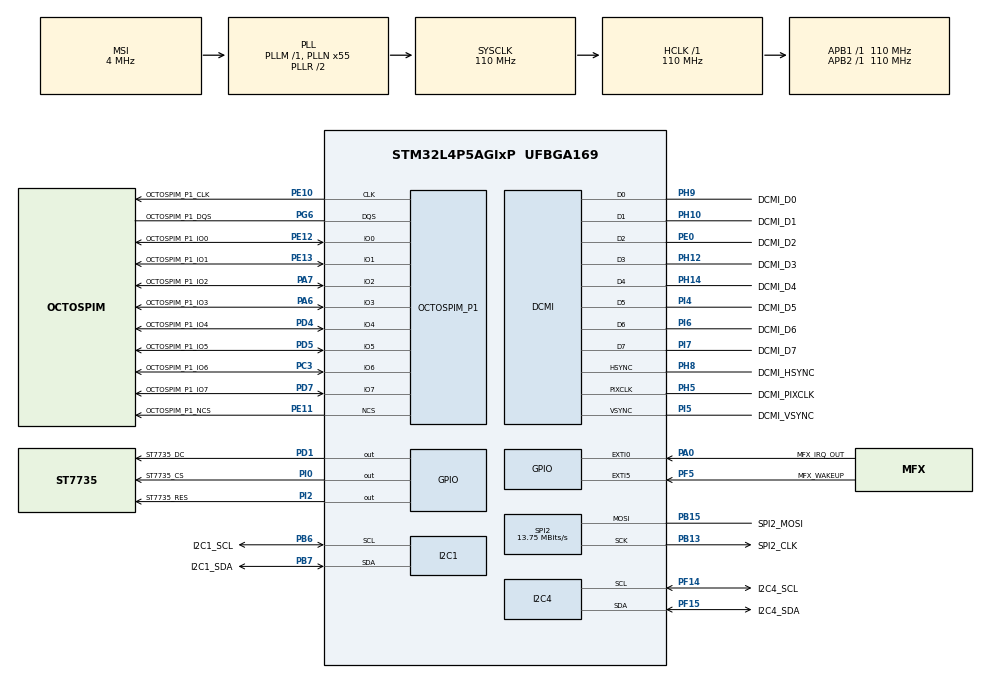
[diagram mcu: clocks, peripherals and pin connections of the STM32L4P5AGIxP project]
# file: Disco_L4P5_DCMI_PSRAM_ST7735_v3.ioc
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DCMI.HSPolarity=DCMI_HSPOLARITY_HIGH
DCMI.PCKPolarity=DCMI_PCKPOLARITY_RISING
DCMI.VSPolarity=DCMI_VSPOLARITY_HIGH
Dma.DCMI.1.Direction=DMA_PERIPH_TO_MEMORY
Dma.DCMI.1.EventEnable=DISABLE
Dma.DCMI.1.Instance=DMA2_Channel6
Dma.DCMI.1.MemDataAlignment=DMA_MDATAALIGN_WORD
Dma.DCMI.1.MemInc=DMA_MINC_ENABLE
Dma.DCMI.1.Mode=DMA_NORMAL
Dma.DCMI.1.PeriphDataAlignment=DMA_PDATAALIGN_WORD
Dma.DCMI.1.PeriphInc=DMA_PINC_DISABLE
Dma.DCMI.1.Polarity=HAL_DMAMUX_REQ_GEN_RISING
Dma.DCMI.1.Priority=DMA_PRIORITY_HIGH
Dma.DCMI.1.RequestNumber=1
Dma.DCMI.1.SignalID=NONE
Dma.DCMI.1.SyncEnable=DISABLE
Dma.DCMI.1.SyncPolarity=HAL_DMAMUX_SYNC_NO_EVENT
Dma.DCMI.1.SyncRequestNumber=1
Dma.DCMI.1.SyncSignalID=NONE
Dma.MEMTOMEM.0.Direction=DMA_MEMORY_TO_MEMORY
Dma.MEMTOMEM.0.EventEnable=DISABLE
Dma.MEMTOMEM.0.Instance=DMA1_Channel1
Dma.MEMTOMEM.0.MemDataAlignment=DMA_MDATAALIGN_BYTE
Dma.MEMTOMEM.0.MemInc=DMA_MINC_ENABLE
Dma.MEMTOMEM.0.Mode=DMA_NORMAL
Dma.MEMTOMEM.0.PeriphDataAlignment=DMA_PDATAALIGN_BYTE
Dma.MEMTOMEM.0.PeriphInc=DMA_PINC_ENABLE
Dma.MEMTOMEM.0.Polarity=HAL_DMAMUX_REQ_GEN_RISING
Dma.MEMTOMEM.0.Priority=DMA_PRIORITY_HIGH
Dma.MEMTOMEM.0.RequestNumber=1
Dma.MEMTOMEM.0.SignalID=NONE
Dma.MEMTOMEM.0.SyncEnable=DISABLE
Dma.MEMTOMEM.0.SyncPolarity=HAL_DMAMUX_SYNC_NO_EVENT
Dma.MEMTOMEM.0.SyncRequestNumber=1
Dma.MEMTOMEM.0.SyncSignalID=NONE
Dma.Request0=MEMTOMEM
Dma.Request1=DCMI
I2C1.Timing=0x40505681
I2C4.Timing=0x40505681
Mcu.Family=STM32L4
Mcu.Name=STM32L4P5AGIxP
Mcu.Package=UFBGA169
NVIC.DCMI_PSSI_IRQn=true\:0\:0\:false\:false\:true\:true\:true\:true
NVIC.DMA1_Channel1_IRQn=true\:0\:0\:false\:false\:true\:true\:true\:true
NVIC.DMA2_Channel6_IRQn=true\:0\:0\:false\:false\:true\:false\:true\:true
NVIC.OCTOSPI1_IRQn=true\:0\:0\:false\:false\:true\:true\:true\:true
NVIC.PriorityGroup=NVIC_PRIORITYGROUP_4
OCTOSPI1.ChipSelectBoundary=4
OCTOSPI1.ClockPrescaler=0x03
OCTOSPI1.DelayBlockBypass=HAL_OSPI_DELAY_BLOCK_USED
OCTOSPI1.DeviceSize=23
OCTOSPI1.FifoThreshold=2
OCTOSPI1.MemoryType=HAL_OSPI_MEMTYPE_APMEMORY
PA0.GPIO_Label=MFX_IRQ_OUT
PA0.Signal=GPXTI0
PA13\ (JTMS/SWDIO).Mode=Serial_Wire
PA13\ (JTMS/SWDIO).Signal=SYS_JTMS-SWDIO
PA14\ (JTCK/SWCLK).Mode=Serial_Wire
PA14\ (JTCK/SWCLK).Signal=SYS_JTCK-SWCLK
PA6.GPIO_Label=OCTOSPIM_P1_IO3
PA6.Mode=OCTOSPI1_IOL_Port1L
PA6.Signal=OCTOSPIM_P1_IO3
PA7.GPIO_Label=OCTOSPIM_P1_IO2
PA7.Mode=OCTOSPI1_IOL_Port1L
PA7.Signal=OCTOSPIM_P1_IO2
PB13.GPIO_Label=SPI2_CLK
PB13.Mode=Simplex_Bidirectional_Master
PB13.Signal=SPI2_SCK
PB15.GPIO_Label=SPI2_MOSI
PB15.Mode=Simplex_Bidirectional_Master
PB15.Signal=SPI2_MOSI
PB6.GPIO_Label=I2C1_SCL
PB6.Mode=I2C
PB6.Signal=I2C1_SCL
PB7.GPIO_Label=I2C1_SDA
PB7.Mode=I2C
PB7.Signal=I2C1_SDA
PC3.GPIO_Label=OCTOSPIM_P1_IO6
PC3.Mode=OCTOSPI1_IOH_Port1H
PC3.Signal=OCTOSPIM_P1_IO6
PD1.GPIO_Label=ST7735_DC
PD1.Signal=GPIO_Output
PD4.GPIO_Label=OCTOSPIM_P1_IO4
PD4.Mode=OCTOSPI1_IOH_Port1H
PD4.Signal=OCTOSPIM_P1_IO4
PD5.GPIO_Label=OCTOSPIM_P1_IO5
PD5.Mode=OCTOSPI1_IOH_Port1H
PD5.Signal=OCTOSPIM_P1_IO5
PD7.GPIO_Label=OCTOSPIM_P1_IO7
PD7.Mode=OCTOSPI1_IOH_Port1H
PD7.Signal=OCTOSPIM_P1_IO7
PE0.GPIO_Label=DCMI_D2
PE0.Mode=Slave_8_bits_External_Synchro
PE0.Signal=DCMI_D2
PE10.GPIO_Label=OCTOSPIM_P1_CLK
PE10.Mode=O1_P1_CLK
PE10.Signal=OCTOSPIM_P1_CLK
PE11.GPIO_Label=OCTOSPIM_P1_NCS
PE11.Mode=OCTOSPI1_Port1_NCS
PE11.Signal=OCTOSPIM_P1_NCS
PE12.GPIO_Label=OCTOSPIM_P1_IO0
PE12.Mode=OCTOSPI1_IOL_Port1L
PE12.Signal=OCTOSPIM_P1_IO0
PE13.GPIO_Label=OCTOSPIM_P1_IO1
PE13.Mode=OCTOSPI1_IOL_Port1L
PE13.Signal=OCTOSPIM_P1_IO1
PE9.GPIO_Label=OCTOSPIM_P1_NCLK
PE9.Signal=OCTOSPIM_P1_NCLK
PF14.GPIO_Label=I2C4_SCL
PF14.Mode=I2C
PF14.Signal=I2C4_SCL
PF15.GPIO_Label=I2C4_SDA
PF15.Mode=I2C
PF15.Signal=I2C4_SDA
PF5.GPIO_Label=MFX_WAKEUP
PF5.Signal=GPXTI5
PG6.GPIO_Label=OCTOSPIM_P1_DQS
PG6.Mode=OCTOSPI1_Port1_DQS
PG6.Signal=OCTOSPIM_P1_DQS
PH10.GPIO_Label=DCMI_D1
PH10.Mode=Slave_8_bits_External_Synchro
PH10.Signal=DCMI_D1
PH12.GPIO_Label=DCMI_D3
PH12.Mode=Slave_8_bits_External_Synchro
PH12.Signal=DCMI_D3
PH14.GPIO_Label=DCMI_D4
PH14.Mode=Slave_8_bits_External_Synchro
PH14.Signal=DCMI_D4
PH5.GPIO_Label=DCMI_PIXCLK
PH5.Mode=Slave_8_bits_External_Synchro
PH5.Signal=DCMI_PIXCLK
PH8.GPIO_Label=DCMI_HSYNC
PH8.Mode=Slave_8_bits_External_Synchro
PH8.Signal=DCMI_HSYNC
PH9.GPIO_Label=DCMI_D0
PH9.Mode=Slave_8_bits_External_Synchro
PH9.Signal=DCMI_D0
PI0.GPIO_Label=ST7735_CS
PI0.Signal=GPIO_Output
PI2.GPIO_Label=ST7735_RES
PI2.Signal=GPIO_Output
PI3.GPIO_Label=DCMI_D10
PI3.Signal=DCMI_D10
PI4.GPIO_Label=DCMI_D5
PI4.Mode=Slave_8_bits_External_Synchro
PI4.Signal=DCMI_D5
PI5.GPIO_Label=DCMI_VSYNC
PI5.Mode=Slave_8_bits_External_Synchro
PI5.Signal=DCMI_VSYNC
PI6.GPIO_Label=DCMI_D6
PI6.Mode=Slave_8_bits_External_Synchro
PI6.Signal=DCMI_D6
PI7.GPIO_Label=DCMI_D7
PI7.Mode=Slave_8_bits_External_Synchro
PI7.Signal=DCMI_D7
ProjectManager.HeapSize=0x200
ProjectManager.StackSize=0x400
ProjectManager.TargetToolchain=STM32CubeIDE
RCC.ADCFreq_Value=110000000
RCC.AHBFreq_Value=110000000
RCC.APB1Freq_Value=110000000
RCC.APB1TimFreq_Value=110000000
RCC.APB2Freq_Value=110000000
RCC.APB2TimFreq_Value=110000000
RCC.CK48CLockSelection=RCC_USBCLKSOURCE_HSI48
RCC.CortexFreq_Value=110000000
RCC.HCLKFreq_Value=110000000
RCC.HSE_VALUE=24000000
RCC.HSI48_VALUE=48000000
RCC.HSI_VALUE=16000000
RCC.LSE_VALUE=32768
RCC.MSI_VALUE=4000000
RCC.PLLN=55
RCC.PLLP=RCC_PLLP_DIV7
RCC.PLLSAI1N=55
RCC.PLLSAI1P=RCC_PLLP_DIV7
RCC.PLLSAI2N=55
RCC.SYSCLKFreq_VALUE=110000000
RCC.SYSCLKSource=RCC_SYSCLKSOURCE_PLLCLK
RCC.USBFreq_Value=48000000
RCC.VCOOutputFreq_Value=220000000
SPI2.BaudRatePrescaler=SPI_BAUDRATEPRESCALER_8
SPI2.CalculateBaudRate=13.75 MBits/s
SPI2.DataSize=SPI_DATASIZE_8BIT
SPI2.Direction=SPI_DIRECTION_1LINE
SPI2.Mode=SPI_MODE_MASTER
SPI2.VirtualType=VM_MASTER
VP_OCTOSPI1_VS_octo.Mode=octo_mode
board=STM32L4P5G-DK

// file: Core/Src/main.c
/* USER CODE BEGIN Header */
/*
 *
Table 8. CN1 STMod+ connector pinout
Pin number Description Pin number Description
1   SPI1_NSS/USART3_CTS (PG5/PD11)      11  INT (PD10)
2   SPI1_MOSI/ USART3_TX (PG4/PD8)      12  RESET (PF11)
3   SPI1_MISO/ USART3_RX (PG3/PD9)      13  ADC (PA5)
4   SPI1_SCK/ USART3_RTS (PG2/PD12)     14  PWM (PG11)
5   GND                                 15 5V
6   5V                                  16 GND
7   I2C4_SCL (PF14)                     17 DFSDM1-CKOUT (PF10)
8   SPI1_MOSIs (PE15)                   18 DFSDM1- DATIN1 (PB12)
9   SPI1_MISOs (PE14)                   19 GPIO3 (PD0)
10  I2C4_SDA (PF15)                     20 GPIO4 (PD1)

It is SPI but with a single bidirectional pin e.g.
LED backlight, sometimes called BL. (it might be LED anode or cathode)
SDA bidirectional data pin. Connect to MOSI
SCK clock. sometimes called SCLK, SCL, ...
A0 data/command GPIO OUTPUT pin. sometimes called DC, RS, ...
RESET reset pin. you must connect. (or pullup)
CS chip select

ST7735 LCD SPI interface max baudrate is 15MHz for write and 6.66MHz for read
Since the provided driver doesn't use read capability from LCD, only constraint
on write baudrate is considered.

 */
/**
 ******************************************************************************
 * @file           : main.c
 * @brief          : Main program body
 ******************************************************************************
 * @attention
 *
 * Copyright (c) 2023 STMicroelectronics.
 * All rights reserved.
 *
 * This software is licensed under terms that can be found in the LICENSE file
 * in the root directory of this software component.
 * If no LICENSE file comes with this software, it is provided AS-IS.
 *
 ******************************************************************************
 */
/* USER CODE END Header */
#include "main.h"

/* USER CODE BEGIN Includes */
#include <stdio.h>
#include <string.h>
#include "st7735.h"
#include "fonts.h"
#include "testimg.h"
/* USER CODE END Includes */

/* USER CODE BEGIN PD */
#define USE_SRAM
//#define  CAMERA_WIDTH    ((uint16_t)320)
//#define  CAMERA_HEIGHT   ((uint16_t)240)

#define  CAMERA_WIDTH    ((uint16_t)160)
#define  CAMERA_HEIGHT   ((uint16_t)120)
/* USER CODE END PD */

DCMI_HandleTypeDef hdcmi;
DMA_HandleTypeDef hdma_dcmi;

I2C_HandleTypeDef hi2c1;
I2C_HandleTypeDef hi2c4;

OSPI_HandleTypeDef hospi1;

SPI_HandleTypeDef hspi2;

DMA_HandleTypeDef hdma_memtomem_dma1_channel1;
/* USER CODE BEGIN PV */
extern DCMI_HandleTypeDef hDcmiHandler;
static volatile uint32_t start_the_camera_capture = 0;
uint16_t pBuffer[CAMERA_WIDTH * CAMERA_HEIGHT];

/* Buffer used for transmission */
uint8_t aTxBuffer[] = " ****Memory-mapped OSPI communication****  ****Memory-mapped OSPI communication****  ****Memory-mapped OSPI communication****  ****Memory-mapped OSPI communication****  ****Memory-mapped OSPI communication****  ****Memory-mapped OSPI communication**** ";

static __IO uint32_t transferErrorDetected;    /* Set to 1 if an error transfer is detected */
static __IO uint32_t transferCompleteDetected; /* Set to 1 if transfer is correctly completed */

HAL_StatusTypeDef hal_status = HAL_OK;

static SPI_HandleTypeDef hdisco_Spi;
/* USER CODE END PV */

void SystemClock_Config(void);
static void MX_GPIO_Init(void);
static void MX_DMA_Init(void);
static void MX_I2C1_Init(void);
static void MX_I2C4_Init(void);
static void MX_SPI2_Init(void);
static void MX_DCMI_Init(void);
static void MX_OCTOSPI1_Init(void);
/* USER CODE BEGIN PFP */

static void TransferComplete(DMA_HandleTypeDef *DmaHandle);
static void TransferError(DMA_HandleTypeDef *DmaHandle);
static void OnError_Handler(uint32_t condition);

static void SPIx_Init(void);
static void SPIx_WriteReadData(const uint8_t *DataIn, uint8_t *DataOut, uint16_t DataLength);
static void SPIx_Write(uint8_t Value);
void LCD_Delay(uint32_t Delay);

static void BSP_OSPIM_Init(void);
static void BSP_OSPIM_RCC_delay(void);
/* USER CODE END PFP */

/* USER CODE BEGIN 0 */
// UART2 is connected to st-link
//int _write(int file, char *ptr, int len)
//{
//	HAL_UART_Transmit(&huart2,(uint8_t *)ptr,len,10);
//	return len;
//}
/* USER CODE END 0 */

int main(void)
{

	/* MCU Configuration--------------------------------------------------------*/

	/* Reset of all peripherals, Initializes the Flash interface and the Systick. */
	HAL_Init();

	/* Configure the system clock */
	SystemClock_Config();

	/* Initialize all configured peripherals */
	MX_GPIO_Init();
	MX_DMA_Init();
	MX_I2C1_Init();
	MX_I2C4_Init();
	MX_SPI2_Init();
	MX_DCMI_Init();
	MX_OCTOSPI1_Init();
	/* USER CODE BEGIN 2 */
	MX_GPIO_Init();
	MX_SPI2_Init();
	ST7735_Init();

	ST7735_FillScreen(ST7735_BLACK);

	BSP_OSPIM_Init();
	BSP_OSPIM_RCC_delay();

	//  BSP_LCD_Init();
	//  uint32_t XSize= BSP_LCD_GetXSize();
	//  uint32_t YSize= BSP_LCD_GetYSize();
	//
	//  BSP_LCD_DrawPixel(0, 0, LCD_RGB565_COLOR_RED);
	//
	//  BSP_LCD_SetBackColor(LCD_RGB565_COLOR_LIGHTBLUE);
	//  BSP_LCD_SetTextColor(LCD_RGB565_COLOR_RED);
	//  BSP_LCD_FillRect(0, 0, 100, 100);

	/*##-2- Initialize the LCD #################################################*/
	/*##-1- LEDs initialization  #################################################*/
	BSP_LED_Init(LED2);
	BSP_LED_Init(LED1);

	/* Initialize the IO functionalities */
	hal_status = BSP_IO_Init();
	OnError_Handler(hal_status != HAL_OK);

	hal_status = BSP_IO_ConfigPin(IO_PIN_3, IO_MODE_OUTPUT);
	OnError_Handler(hal_status != HAL_OK);

	BSP_IO_WritePin(IO_PIN_3, BSP_IO_PIN_SET);
	HAL_Delay(100);

	hal_status = BSP_IO_ConfigPin(IO_PIN_7, IO_MODE_INPUT);
	OnError_Handler(hal_status != HAL_OK);

	uint32_t val= BSP_IO_ReadPin(IO_PIN_7);
	printf("plugged %lu\n", val);

#define CAM
#ifdef CAM
	/*##-3- Camera Initialization ############################*/
	/* Initialize the Camera in QQVGA mode */
	hal_status = BSP_CAMERA_Init(CAMERA_R160x120);
	OnError_Handler(hal_status != HAL_OK);

	/* Wait 1s to let auto-loops in the camera module converge and lead to correct exposure */
	HAL_Delay(1000);

	/*##-4- Camera Continuous capture start in QVGA resolution ############################*/
	/* Disable unwanted HSYNC (IT_LINE)/VSYNC interrupts */
	__HAL_DCMI_DISABLE_IT(&hDcmiHandler, DCMI_IT_LINE | DCMI_IT_VSYNC);

#define OSPIM
#ifdef OSPIM
	hal_status = HAL_DCMI_Start_DMA(&hDcmiHandler, DCMI_MODE_SNAPSHOT,  (uint32_t)(OCTOSPI1_BASE) , CAMERA_WIDTH * CAMERA_HEIGHT/2 );
#else
	hal_status = HAL_DCMI_Start_DMA(&hDcmiHandler, DCMI_MODE_SNAPSHOT,  (uint32_t)(pBuffer) , CAMERA_WIDTH * CAMERA_HEIGHT/2 );
	/* ------------------------------------------------------------------------------------------- uint32_t size ---- */
#endif

	OnError_Handler(hal_status != HAL_OK);

	/*##-4- Line capture ############################*/
	printf("capture %lu\n", start_the_camera_capture);
	while(start_the_camera_capture == 0) {;}
	printf("capture %lu\n", start_the_camera_capture);

#ifdef OSPIM
	/* Read back data from the SRAM memory */
	for(uint32_t pos = 0; pos < CAMERA_WIDTH * CAMERA_HEIGHT; pos++)
	   {
		uint16_t val = * (__IO uint16_t *)(OCTOSPI1_BASE+2*pos);
		pBuffer[pos] = val;
	   }
#endif

#define noDRAWIMAGE
	for (uint16_t i=0; i<CAMERA_WIDTH; i++){
		for (uint16_t j=0; j<CAMERA_HEIGHT; j++){
			uint16_t color565 = pBuffer[j*CAMERA_WIDTH+i];
#ifdef DRAWIMAGE
			color565 = ((color565 & 0xFF00) >> 8) | ((color565 & 0xFF) << 8);
			pBuffer[j*CAMERA_WIDTH+i]=color565;
			ST7735_DrawImage(0, 0, CAMERA_WIDTH, CAMERA_HEIGHT, pBuffer);
#else
			ST7735_DrawPixel(i, j, color565);
#endif
		}
	}

#endif

	/* Set to 1 if an transfer error is detected */
	transferErrorDetected = 0;
	transferCompleteDetected = 0;

	/*##-5- Select Callbacks functions called after Transfer complete and Transfer error */
	HAL_DMA_RegisterCallback(&hdma_memtomem_dma1_channel1, HAL_DMA_XFER_CPLT_CB_ID, TransferComplete);
	HAL_DMA_RegisterCallback(&hdma_memtomem_dma1_channel1, HAL_DMA_XFER_ERROR_CB_ID, TransferError);

	if (HAL_DMA_Start_IT(&hdma_memtomem_dma1_channel1, (uint32_t)&aTxBuffer, (uint32_t)(OCTOSPI1_BASE), BUFFERSIZE) != HAL_OK)
	{
		/* Transfer Error */
		Error_Handler();
	}

	/* USER CODE END 2 */

	/* Infinite loop */
	/* USER CODE BEGIN WHILE */
	while (1){
		if (transferErrorDetected == 1){
			/* Toggle LED2 with a period of 200 ms */
			BSP_LED_Toggle(LED2);
			HAL_Delay(200);
		}
		if (transferCompleteDetected == 1){
			/* Turn LED2 on*/
			BSP_LED_On(LED2);
			transferCompleteDetected = 0;

			/* Read back data from the SRAM memory */
			for(__IO uint32_t  uwIndex = 0; uwIndex < BUFFERSIZE; uwIndex++)
			{
				__IO uint16_t uval = aTxBuffer[uwIndex];
				if (uval != aTxBuffer[uwIndex]) Error_Handler();

				printf("%lu / %u %u\n", uwIndex, BUFFERSIZE, uval);
				//printf("%c", uval);
			}
			printf("\n");
		}

		/* USER CODE END WHILE */

	}
}

void SystemClock_Config(void)
{
	RCC_OscInitTypeDef RCC_OscInitStruct = {0};
	RCC_ClkInitTypeDef RCC_ClkInitStruct = {0};

	/** Configure the main internal regulator output voltage
	 */
	if (HAL_PWREx_ControlVoltageScaling(PWR_REGULATOR_VOLTAGE_SCALE1_BOOST) != HAL_OK)
	{
		Error_Handler();
	}

	/** Initializes the RCC Oscillators according to the specified parameters
	 * in the RCC_OscInitTypeDef structure.
	 */
	RCC_OscInitStruct.OscillatorType = RCC_OSCILLATORTYPE_MSI;
	RCC_OscInitStruct.MSIState = RCC_MSI_ON;
	RCC_OscInitStruct.MSICalibrationValue = 0;
	RCC_OscInitStruct.MSIClockRange = RCC_MSIRANGE_6;
	RCC_OscInitStruct.PLL.PLLState = RCC_PLL_ON;
	RCC_OscInitStruct.PLL.PLLSource = RCC_PLLSOURCE_MSI;
	RCC_OscInitStruct.PLL.PLLM = 1;
	RCC_OscInitStruct.PLL.PLLN = 55;
	RCC_OscInitStruct.PLL.PLLP = RCC_PLLP_DIV7;
	RCC_OscInitStruct.PLL.PLLQ = RCC_PLLQ_DIV2;
	RCC_OscInitStruct.PLL.PLLR = RCC_PLLR_DIV2;
	if (HAL_RCC_OscConfig(&RCC_OscInitStruct) != HAL_OK)
	{
		Error_Handler();
	}

	/** Initializes the CPU, AHB and APB buses clocks
	 */
	RCC_ClkInitStruct.ClockType = RCC_CLOCKTYPE_HCLK|RCC_CLOCKTYPE_SYSCLK
			|RCC_CLOCKTYPE_PCLK1|RCC_CLOCKTYPE_PCLK2;
	RCC_ClkInitStruct.SYSCLKSource = RCC_SYSCLKSOURCE_PLLCLK;
	RCC_ClkInitStruct.AHBCLKDivider = RCC_SYSCLK_DIV1;
	RCC_ClkInitStruct.APB1CLKDivider = RCC_HCLK_DIV1;
	RCC_ClkInitStruct.APB2CLKDivider = RCC_HCLK_DIV1;

	if (HAL_RCC_ClockConfig(&RCC_ClkInitStruct, FLASH_LATENCY_5) != HAL_OK)
	{
		Error_Handler();
	}
}

static void MX_DCMI_Init(void)
{

	hdcmi.Instance = DCMI;
	hdcmi.Init.SynchroMode = DCMI_SYNCHRO_HARDWARE;
	hdcmi.Init.PCKPolarity = DCMI_PCKPOLARITY_RISING;
	hdcmi.Init.VSPolarity = DCMI_VSPOLARITY_HIGH;
	hdcmi.Init.HSPolarity = DCMI_HSPOLARITY_HIGH;
	hdcmi.Init.CaptureRate = DCMI_CR_ALL_FRAME;
	hdcmi.Init.ExtendedDataMode = DCMI_EXTEND_DATA_8B;
	hdcmi.Init.JPEGMode = DCMI_JPEG_DISABLE;
	hdcmi.Init.ByteSelectMode = DCMI_BSM_ALL;
	hdcmi.Init.ByteSelectStart = DCMI_OEBS_ODD;
	hdcmi.Init.LineSelectMode = DCMI_LSM_ALL;
	hdcmi.Init.LineSelectStart = DCMI_OELS_ODD;
	if (HAL_DCMI_Init(&hdcmi) != HAL_OK)
	{
		Error_Handler();
	}

}

static void MX_I2C1_Init(void)
{

	hi2c1.Instance = I2C1;
	hi2c1.Init.Timing = 0x40505681;
	hi2c1.Init.OwnAddress1 = 0;
	hi2c1.Init.AddressingMode = I2C_ADDRESSINGMODE_7BIT;
	hi2c1.Init.DualAddressMode = I2C_DUALADDRESS_DISABLE;
	hi2c1.Init.OwnAddress2 = 0;
	hi2c1.Init.OwnAddress2Masks = I2C_OA2_NOMASK;
	hi2c1.Init.GeneralCallMode = I2C_GENERALCALL_DISABLE;
	hi2c1.Init.NoStretchMode = I2C_NOSTRETCH_DISABLE;
	if (HAL_I2C_Init(&hi2c1) != HAL_OK)
	{
		Error_Handler();
	}

	/** Configure Analogue filter
	 */
	if (HAL_I2CEx_ConfigAnalogFilter(&hi2c1, I2C_ANALOGFILTER_ENABLE) != HAL_OK)
	{
		Error_Handler();
	}

	/** Configure Digital filter
	 */
	if (HAL_I2CEx_ConfigDigitalFilter(&hi2c1, 0) != HAL_OK)
	{
		Error_Handler();
	}

}

static void MX_I2C4_Init(void)
{

	hi2c4.Instance = I2C4;
	hi2c4.Init.Timing = 0x40505681;
	hi2c4.Init.OwnAddress1 = 0;
	hi2c4.Init.AddressingMode = I2C_ADDRESSINGMODE_7BIT;
	hi2c4.Init.DualAddressMode = I2C_DUALADDRESS_DISABLE;
	hi2c4.Init.OwnAddress2 = 0;
	hi2c4.Init.OwnAddress2Masks = I2C_OA2_NOMASK;
	hi2c4.Init.GeneralCallMode = I2C_GENERALCALL_DISABLE;
	hi2c4.Init.NoStretchMode = I2C_NOSTRETCH_DISABLE;
	if (HAL_I2C_Init(&hi2c4) != HAL_OK)
	{
		Error_Handler();
	}

	/** Configure Analogue filter
	 */
	if (HAL_I2CEx_ConfigAnalogFilter(&hi2c4, I2C_ANALOGFILTER_ENABLE) != HAL_OK)
	{
		Error_Handler();
	}

	/** Configure Digital filter
	 */
	if (HAL_I2CEx_ConfigDigitalFilter(&hi2c4, 0) != HAL_OK)
	{
		Error_Handler();
	}

}

static void MX_OCTOSPI1_Init(void)
{

	OSPIM_CfgTypeDef OSPIM_Cfg_Struct = {0};

	/* OCTOSPI1 parameter configuration*/
	hospi1.Instance = OCTOSPI1;
	hospi1.Init.FifoThreshold = 2;
	hospi1.Init.DualQuad = HAL_OSPI_DUALQUAD_DISABLE;
	hospi1.Init.MemoryType = HAL_OSPI_MEMTYPE_APMEMORY;
	hospi1.Init.DeviceSize = 23;
	hospi1.Init.ChipSelectHighTime = 1;
	hospi1.Init.FreeRunningClock = HAL_OSPI_FREERUNCLK_DISABLE;
	hospi1.Init.ClockMode = HAL_OSPI_CLOCK_MODE_0;
	hospi1.Init.ClockPrescaler = 0x03;
	hospi1.Init.SampleShifting = HAL_OSPI_SAMPLE_SHIFTING_NONE;
	hospi1.Init.DelayHoldQuarterCycle = HAL_OSPI_DHQC_DISABLE;
	hospi1.Init.ChipSelectBoundary = 4;
	hospi1.Init.DelayBlockBypass = HAL_OSPI_DELAY_BLOCK_USED;
	hospi1.Init.Refresh = 0;
	if (HAL_OSPI_Init(&hospi1) != HAL_OK)
	{
		Error_Handler();
	}
	OSPIM_Cfg_Struct.ClkPort = 1;
	OSPIM_Cfg_Struct.DQSPort = 1;
	OSPIM_Cfg_Struct.NCSPort = 1;
	OSPIM_Cfg_Struct.IOLowPort = HAL_OSPIM_IOPORT_1_LOW;
	OSPIM_Cfg_Struct.IOHighPort = HAL_OSPIM_IOPORT_1_HIGH;
	if (HAL_OSPIM_Config(&hospi1, &OSPIM_Cfg_Struct, HAL_OSPI_TIMEOUT_DEFAULT_VALUE) != HAL_OK)
	{
		Error_Handler();
	}

}

static void MX_SPI2_Init(void)
{

	/* SPI2 parameter configuration*/
	hspi2.Instance = SPI2;
	hspi2.Init.Mode = SPI_MODE_MASTER;
	hspi2.Init.Direction = SPI_DIRECTION_1LINE;
	hspi2.Init.DataSize = SPI_DATASIZE_8BIT;
	hspi2.Init.CLKPolarity = SPI_POLARITY_LOW;
	hspi2.Init.CLKPhase = SPI_PHASE_1EDGE;
	hspi2.Init.NSS = SPI_NSS_SOFT;
	hspi2.Init.BaudRatePrescaler = SPI_BAUDRATEPRESCALER_8;
	hspi2.Init.FirstBit = SPI_FIRSTBIT_MSB;
	hspi2.Init.TIMode = SPI_TIMODE_DISABLE;
	hspi2.Init.CRCCalculation = SPI_CRCCALCULATION_DISABLE;
	hspi2.Init.CRCPolynomial = 7;
	hspi2.Init.CRCLength = SPI_CRC_LENGTH_DATASIZE;
	hspi2.Init.NSSPMode = SPI_NSS_PULSE_ENABLE;
	if (HAL_SPI_Init(&hspi2) != HAL_OK)
	{
		Error_Handler();
	}

}

static void MX_DMA_Init(void)
{

	/* DMA controller clock enable */
	__HAL_RCC_DMAMUX1_CLK_ENABLE();
	__HAL_RCC_DMA1_CLK_ENABLE();
	__HAL_RCC_DMA2_CLK_ENABLE();

	/* Configure DMA request hdma_memtomem_dma1_channel1 on DMA1_Channel1 */
	hdma_memtomem_dma1_channel1.Instance = DMA1_Channel1;
	hdma_memtomem_dma1_channel1.Init.Request = DMA_REQUEST_MEM2MEM;
	hdma_memtomem_dma1_channel1.Init.Direction = DMA_MEMORY_TO_MEMORY;
	hdma_memtomem_dma1_channel1.Init.PeriphInc = DMA_PINC_ENABLE;
	hdma_memtomem_dma1_channel1.Init.MemInc = DMA_MINC_ENABLE;
	hdma_memtomem_dma1_channel1.Init.PeriphDataAlignment = DMA_PDATAALIGN_BYTE;
	hdma_memtomem_dma1_channel1.Init.MemDataAlignment = DMA_MDATAALIGN_BYTE;
	hdma_memtomem_dma1_channel1.Init.Mode = DMA_NORMAL;
	hdma_memtomem_dma1_channel1.Init.Priority = DMA_PRIORITY_HIGH;
	if (HAL_DMA_Init(&hdma_memtomem_dma1_channel1) != HAL_OK)
	{
		Error_Handler( );
	}

	/* DMA interrupt init */
	/* DMA1_Channel1_IRQn interrupt configuration */
	HAL_NVIC_SetPriority(DMA1_Channel1_IRQn, 0, 0);
	HAL_NVIC_EnableIRQ(DMA1_Channel1_IRQn);
	/* DMA2_Channel6_IRQn interrupt configuration */
	HAL_NVIC_SetPriority(DMA2_Channel6_IRQn, 0, 0);
	HAL_NVIC_EnableIRQ(DMA2_Channel6_IRQn);

}

static void MX_GPIO_Init(void)
{
	GPIO_InitTypeDef GPIO_InitStruct = {0};

	/* GPIO Ports Clock Enable */
	__HAL_RCC_GPIOI_CLK_ENABLE();
	__HAL_RCC_GPIOH_CLK_ENABLE();
	__HAL_RCC_GPIOE_CLK_ENABLE();
	__HAL_RCC_GPIOB_CLK_ENABLE();
	__HAL_RCC_GPIOA_CLK_ENABLE();
	__HAL_RCC_GPIOG_CLK_ENABLE();
	HAL_PWREx_EnableVddIO2();
	__HAL_RCC_GPIOD_CLK_ENABLE();
	__HAL_RCC_GPIOC_CLK_ENABLE();
	__HAL_RCC_GPIOF_CLK_ENABLE();

	/*Configure GPIO pin Output Level */
	HAL_GPIO_WritePin(GPIOI, ST7735_CS_Pin|ST7735_RES_Pin, GPIO_PIN_RESET);

	/*Configure GPIO pin Output Level */
	HAL_GPIO_WritePin(ST7735_DC_GPIO_Port, ST7735_DC_Pin, GPIO_PIN_RESET);

	/*Configure GPIO pins : PI10 PI9 PI1 PI11
                           PI8 */
	GPIO_InitStruct.Pin = GPIO_PIN_10|GPIO_PIN_9|GPIO_PIN_1|GPIO_PIN_11
			|GPIO_PIN_8;
	GPIO_InitStruct.Mode = GPIO_MODE_ANALOG;
	GPIO_InitStruct.Pull = GPIO_NOPULL;
	HAL_GPIO_Init(GPIOI, &GPIO_InitStruct);

	/*Configure GPIO pins : PH2 PH15 PH13 PH7
                           PH3 PH6 PH0 PH1
                           PH4 */
	GPIO_InitStruct.Pin = GPIO_PIN_2|GPIO_PIN_15|GPIO_PIN_13|GPIO_PIN_7
			|GPIO_PIN_3|GPIO_PIN_6|GPIO_PIN_0|GPIO_PIN_1
			|GPIO_PIN_4;
	GPIO_InitStruct.Mode = GPIO_MODE_ANALOG;
	GPIO_InitStruct.Pull = GPIO_NOPULL;
	HAL_GPIO_Init(GPIOH, &GPIO_InitStruct);

	/*Configure GPIO pins : PB4 PB3 PB5 PB8
                           PB9 PB11 PB0 PB1
                           PB14 PB2 PB10 PB12 */
	GPIO_InitStruct.Pin = GPIO_PIN_4|GPIO_PIN_3|GPIO_PIN_5|GPIO_PIN_8
			|GPIO_PIN_9|GPIO_PIN_11|GPIO_PIN_0|GPIO_PIN_1
			|GPIO_PIN_14|GPIO_PIN_2|GPIO_PIN_10|GPIO_PIN_12;
	GPIO_InitStruct.Mode = GPIO_MODE_ANALOG;
	GPIO_InitStruct.Pull = GPIO_NOPULL;
	HAL_GPIO_Init(GPIOB, &GPIO_InitStruct);

	/*Configure GPIO pins : PA15 PA12 PA11 PA10
                           PA9 PA8 PA5 PA4
                           PA3 PA2 PA1 */
	GPIO_InitStruct.Pin = GPIO_PIN_15|GPIO_PIN_12|GPIO_PIN_11|GPIO_PIN_10
			|GPIO_PIN_9|GPIO_PIN_8|GPIO_PIN_5|GPIO_PIN_4
			|GPIO_PIN_3|GPIO_PIN_2|GPIO_PIN_1;
	GPIO_InitStruct.Mode = GPIO_MODE_ANALOG;
	GPIO_InitStruct.Pull = GPIO_NOPULL;
	HAL_GPIO_Init(GPIOA, &GPIO_InitStruct);

	/*Configure GPIO pins : ST7735_CS_Pin ST7735_RES_Pin */
	GPIO_InitStruct.Pin = ST7735_CS_Pin|ST7735_RES_Pin;
	GPIO_InitStruct.Mode = GPIO_MODE_OUTPUT_PP;
	GPIO_InitStruct.Pull = GPIO_NOPULL;
	GPIO_InitStruct.Speed = GPIO_SPEED_FREQ_LOW;
	HAL_GPIO_Init(GPIOI, &GPIO_InitStruct);

	/*Configure GPIO pins : PE1 PE4 PE3 PE2
                           PE6 PE5 PE15 PE8
                           PE14 PE7 */
	GPIO_InitStruct.Pin = GPIO_PIN_1|GPIO_PIN_4|GPIO_PIN_3|GPIO_PIN_2
			|GPIO_PIN_6|GPIO_PIN_5|GPIO_PIN_15|GPIO_PIN_8
			|GPIO_PIN_14|GPIO_PIN_7;
	GPIO_InitStruct.Mode = GPIO_MODE_ANALOG;
	GPIO_InitStruct.Pull = GPIO_NOPULL;
	HAL_GPIO_Init(GPIOE, &GPIO_InitStruct);

	/*Configure GPIO pins : PG9 PG10 PG11 PG12
                           PG14 PG13 PG1 PG8
                           PG7 PG0 PG5 PG4
                           PG3 PG2 */
	GPIO_InitStruct.Pin = GPIO_PIN_9|GPIO_PIN_10|GPIO_PIN_11|GPIO_PIN_12
			|GPIO_PIN_14|GPIO_PIN_13|GPIO_PIN_1|GPIO_PIN_8
			|GPIO_PIN_7|GPIO_PIN_0|GPIO_PIN_5|GPIO_PIN_4
			|GPIO_PIN_3|GPIO_PIN_2;
	GPIO_InitStruct.Mode = GPIO_MODE_ANALOG;
	GPIO_InitStruct.Pull = GPIO_NOPULL;
	HAL_GPIO_Init(GPIOG, &GPIO_InitStruct);

	/*Configure GPIO pins : PD0 PD2 PD6 PD3
                           PD15 PD10 PD14 PD12
                           PD11 PD13 PD9 PD8 */
	GPIO_InitStruct.Pin = GPIO_PIN_0|GPIO_PIN_2|GPIO_PIN_6|GPIO_PIN_3
			|GPIO_PIN_15|GPIO_PIN_10|GPIO_PIN_14|GPIO_PIN_12
			|GPIO_PIN_11|GPIO_PIN_13|GPIO_PIN_9|GPIO_PIN_8;
	GPIO_InitStruct.Mode = GPIO_MODE_ANALOG;
	GPIO_InitStruct.Pull = GPIO_NOPULL;
	HAL_GPIO_Init(GPIOD, &GPIO_InitStruct);

	/*Configure GPIO pin : ST7735_DC_Pin */
	GPIO_InitStruct.Pin = ST7735_DC_Pin;
	GPIO_InitStruct.Mode = GPIO_MODE_OUTPUT_PP;
	GPIO_InitStruct.Pull = GPIO_NOPULL;
	GPIO_InitStruct.Speed = GPIO_SPEED_FREQ_LOW;
	HAL_GPIO_Init(ST7735_DC_GPIO_Port, &GPIO_InitStruct);

	/*Configure GPIO pins : PC10 PC13 PC11 PC14
                           PC12 PC6 PC15 PC9
                           PC8 PC7 PC4 PC0
                           PC1 PC2 PC5 */
	GPIO_InitStruct.Pin = GPIO_PIN_10|GPIO_PIN_13|GPIO_PIN_11|GPIO_PIN_14
			|GPIO_PIN_12|GPIO_PIN_6|GPIO_PIN_15|GPIO_PIN_9
			|GPIO_PIN_8|GPIO_PIN_7|GPIO_PIN_4|GPIO_PIN_0
			|GPIO_PIN_1|GPIO_PIN_2|GPIO_PIN_5;
	GPIO_InitStruct.Mode = GPIO_MODE_ANALOG;
	GPIO_InitStruct.Pull = GPIO_NOPULL;
	HAL_GPIO_Init(GPIOC, &GPIO_InitStruct);

	/*Configure GPIO pins : PF2 PF1 PF0 PF3
                           PF4 PF10 PF11 PF13
                           PF12 */
	GPIO_InitStruct.Pin = GPIO_PIN_2|GPIO_PIN_1|GPIO_PIN_0|GPIO_PIN_3
			|GPIO_PIN_4|GPIO_PIN_10|GPIO_PIN_11|GPIO_PIN_13
			|GPIO_PIN_12;
	GPIO_InitStruct.Mode = GPIO_MODE_ANALOG;
	GPIO_InitStruct.Pull = GPIO_NOPULL;
	HAL_GPIO_Init(GPIOF, &GPIO_InitStruct);

	/*Configure GPIO pin : MFX_WAKEUP_Pin */
	GPIO_InitStruct.Pin = MFX_WAKEUP_Pin;
	GPIO_InitStruct.Mode = GPIO_MODE_IT_RISING;
	GPIO_InitStruct.Pull = GPIO_NOPULL;
	HAL_GPIO_Init(MFX_WAKEUP_GPIO_Port, &GPIO_InitStruct);

	/*Configure GPIO pin : OCTOSPIM_P1_NCLK_Pin */
	GPIO_InitStruct.Pin = OCTOSPIM_P1_NCLK_Pin;
	GPIO_InitStruct.Mode = GPIO_MODE_AF_PP;
	GPIO_InitStruct.Pull = GPIO_NOPULL;
	GPIO_InitStruct.Speed = GPIO_SPEED_FREQ_VERY_HIGH;
	GPIO_InitStruct.Alternate = GPIO_AF10_OCTOSPIM_P1;
	HAL_GPIO_Init(OCTOSPIM_P1_NCLK_GPIO_Port, &GPIO_InitStruct);

	/*Configure GPIO pin : MFX_IRQ_OUT_Pin */
	GPIO_InitStruct.Pin = MFX_IRQ_OUT_Pin;
	GPIO_InitStruct.Mode = GPIO_MODE_IT_RISING;
	GPIO_InitStruct.Pull = GPIO_NOPULL;
	HAL_GPIO_Init(MFX_IRQ_OUT_GPIO_Port, &GPIO_InitStruct);

}

/* USER CODE BEGIN 4 */

/**
 * @brief  Initialize SPI HAL.
 * @retval None
 */
static void SPIx_Init(void)
{
	if (HAL_SPI_GetState(&hdisco_Spi) == HAL_SPI_STATE_RESET)
	{
		/* SPI Config */
		/* SPI baudrate is set to 13.75 MHz maximum (SPI_BaudRatePrescaler = 8)
     to verify these constraints:
        - ST7735 LCD SPI interface max baudrate is 15MHz for write and 6.66MHz for read
          Since the provided driver doesn't use read capability from LCD, only constraint
          on write baudrate is considered.
		 */
		hdisco_Spi.Instance = SPI1;
		hdisco_Spi.Init.Mode = SPI_MODE_MASTER;
		hdisco_Spi.Init.Direction = SPI_DIRECTION_2LINES;
		hdisco_Spi.Init.DataSize = SPI_DATASIZE_8BIT;
		hdisco_Spi.Init.CLKPolarity = SPI_POLARITY_HIGH;
		hdisco_Spi.Init.CLKPhase = SPI_PHASE_2EDGE;
		hdisco_Spi.Init.NSS = SPI_NSS_SOFT;
		hdisco_Spi.Init.BaudRatePrescaler = SPI_BAUDRATEPRESCALER_8;
		hdisco_Spi.Init.FirstBit = SPI_FIRSTBIT_MSB;
		hdisco_Spi.Init.TIMode = SPI_TIMODE_DISABLE;
		hdisco_Spi.Init.CRCCalculation = SPI_CRCCALCULATION_DISABLE;
		hdisco_Spi.Init.CRCPolynomial = 7;
		hdisco_Spi.Init.CRCLength = SPI_CRC_LENGTH_DATASIZE;
		hdisco_Spi.Init.NSSPMode = SPI_NSS_PULSE_DISABLE;
		if (HAL_SPI_Init(&hdisco_Spi) != HAL_OK)
		{
			Error_Handler();
		}
	}
}

/**
 * @brief  SPI Write byte(s) to device
 * @param  DataIn: Pointer to data buffer to write
 * @param  DataOut: Pointer to data buffer for read data
 * @param  DataLength: number of bytes to write
 * @retval None
 */
static void SPIx_WriteReadData(const uint8_t *DataIn, uint8_t *DataOut, uint16_t DataLength)
{
	HAL_StatusTypeDef status = HAL_OK;
	status = HAL_SPI_TransmitReceive(&hdisco_Spi, (uint8_t *) DataIn, DataOut, DataLength, DISCO_SPIx_TIMEOUT_MAX);

	/* Check the communication status */
	if (status != HAL_OK)
	{
		/* Execute user timeout callback */
		Error_Handler();
	}
}

/**
 * @brief  SPI Write a byte to device
 * @param  Value: value to be written
 * @retval None
 */
static void SPIx_Write(uint8_t Value)
{
	HAL_StatusTypeDef status = HAL_OK;
	uint8_t data;

	status = HAL_SPI_TransmitReceive(&hdisco_Spi, (uint8_t *) &Value, &data, 1, DISCO_SPIx_TIMEOUT_MAX);

	/* Check the communication status */
	if (status != HAL_OK)
	{
		/* Execute user timeout callback */
		Error_Handler();
	}
}

/**
 * @brief  Initialize the LCD
 * @retval None
 */
void LCD_IO_Init(void)
{
	GPIO_InitTypeDef  GPIO_InitStruct = {0};

	/* LCD_CS_GPIO and LCD_DC_GPIO Periph clock enable */
	LCD_CS_GPIO_CLK_ENABLE();
	LCD_DC_GPIO_CLK_ENABLE();

	/* Configure LCD_CS_PIN pin: LCD Card CS pin */
	GPIO_InitStruct.Pin    = LCD_CS_PIN;
	GPIO_InitStruct.Mode   = GPIO_MODE_OUTPUT_PP;
	GPIO_InitStruct.Pull   = GPIO_NOPULL;
	GPIO_InitStruct.Speed  = GPIO_SPEED_FREQ_VERY_HIGH;
	HAL_GPIO_Init(LCD_CS_GPIO_PORT, &GPIO_InitStruct);

	/* Configure LCD_DC_PIN pin: LCD Card DC pin */
	GPIO_InitStruct.Pin    = LCD_DC_PIN;
	HAL_GPIO_Init(LCD_DC_GPIO_PORT, &GPIO_InitStruct);

	/* LCD chip select high */
	LCD_CS_HIGH();

	/* LCD SPI Config */
	SPIx_Init();
}

/**
 * @brief  Write command to select the LCD register.
 * @param  LCDReg: Address of the selected register.
 * @retval None
 */
void LCD_IO_WriteReg(uint8_t LCDReg)
{
	/* Reset LCD control line CS */
	LCD_CS_LOW();

	/* Set LCD data/command line DC to Low */
	LCD_DC_LOW();

	/* Send Command */
	SPIx_Write(LCDReg);

	/* Deselect : Chip Select high */
	LCD_CS_HIGH();
}

/**
 * @brief  Write register value.
 * @param  pData Pointer on the register value
 * @param  Size Size of byte to transmit to the register
 * @retval None
 */
void LCD_IO_WriteMultipleData(uint8_t *pData, uint32_t Size)
{
	uint32_t counter = 0;
	__IO uint32_t data = 0;

	/* Reset LCD control line CS */
	LCD_CS_LOW();

	/* Set LCD data/command line DC to High */
	LCD_DC_HIGH();

	if (Size == 1)
	{
		/* Only 1 byte to be sent to LCD - general interface can be used */
		/* Send Data */
		SPIx_Write(*pData);
	}
	else
	{
		/* Several data should be sent in a raw */
		/* Direct SPI accesses for optimization */
		for (counter = Size; counter != 0; counter--)
		{
			while (((hdisco_Spi.Instance->SR) & SPI_FLAG_TXE) != SPI_FLAG_TXE)
			{
			}
			/* Need to invert bytes for LCD*/
			*((__IO uint8_t *)&hdisco_Spi.Instance->DR) = *(pData + 1);

			while (((hdisco_Spi.Instance->SR) & SPI_FLAG_TXE) != SPI_FLAG_TXE)
			{
			}
			*((__IO uint8_t *)&hdisco_Spi.Instance->DR) = *pData;
			counter--;
			pData += 2;
		}

		/* Wait until the bus is ready before releasing Chip select */
		while (((hdisco_Spi.Instance->SR) & SPI_FLAG_BSY) != RESET)
		{
		}
	}

	/* Empty the Rx fifo */
	data = *(&hdisco_Spi.Instance->DR);
	UNUSED(data);  /* Remove GNU warning */

	/* Deselect : Chip Select high */
	LCD_CS_HIGH();
}

/**
 * @brief  Wait for loop in ms.
 * @param  Delay in ms.
 * @retval None
 */
void LCD_Delay(uint32_t Delay)
{
	HAL_Delay(Delay);
}

/**
 * @brief  Camera Frame Event callback.
 */
void BSP_CAMERA_FrameEventCallback(void)
{
	start_the_camera_capture = 1;
}

/**
 * @brief  Initialize OctoSPI and enable memory-mapped mode
 */
static void BSP_OSPIM_Init(void){
	OSPIM_CfgTypeDef OSPIM_Cfg_Struct = {0};
	OSPI_RegularCmdTypeDef  sCommand = {0};
	OSPI_MemoryMappedTypeDef sMemMappedCfg = {0};
	uint8_t reg[2];

	OSPIM_Cfg_Struct.ClkPort    = 1;
	OSPIM_Cfg_Struct.DQSPort    = 1;
	OSPIM_Cfg_Struct.IOHighPort = HAL_OSPIM_IOPORT_1_HIGH;
	OSPIM_Cfg_Struct.IOLowPort  = HAL_OSPIM_IOPORT_1_LOW;
	OSPIM_Cfg_Struct.NCSPort    = 1;

	hospi1.Instance = OCTOSPI1;
	HAL_OSPI_DeInit(&hospi1);

	__HAL_RCC_OSPIM_CLK_ENABLE();
	if (HAL_OSPIM_Config(&hospi1, &OSPIM_Cfg_Struct, HAL_OSPI_TIMEOUT_DEFAULT_VALUE) != HAL_OK)
	{
		Error_Handler();
	}

	if (HAL_OSPI_Init(&hospi1) != HAL_OK) {
		Error_Handler();
	}

	sCommand.OperationType      = HAL_OSPI_OPTYPE_COMMON_CFG;
	sCommand.FlashId            = HAL_OSPI_FLASH_ID_1;
	sCommand.InstructionMode    = HAL_OSPI_INSTRUCTION_8_LINES;
	sCommand.InstructionSize    = HAL_OSPI_INSTRUCTION_8_BITS;
	sCommand.InstructionDtrMode = HAL_OSPI_INSTRUCTION_DTR_DISABLE;
	sCommand.AddressMode        = HAL_OSPI_ADDRESS_8_LINES;
	sCommand.AddressSize        = HAL_OSPI_ADDRESS_32_BITS;
	sCommand.AddressDtrMode     = HAL_OSPI_ADDRESS_DTR_ENABLE;
	sCommand.AlternateBytesMode = HAL_OSPI_ALTERNATE_BYTES_NONE;
	sCommand.DataMode           = HAL_OSPI_DATA_8_LINES;
	sCommand.DataDtrMode        = HAL_OSPI_DATA_DTR_ENABLE;
	sCommand.DQSMode            = HAL_OSPI_DQS_ENABLE;
	sCommand.SIOOMode           = HAL_OSPI_SIOO_INST_EVERY_CMD;
	sCommand.Instruction        = READ_REG_CMD_SRAM;
	sCommand.Address            = 0;
	sCommand.NbData             = 2;
	sCommand.DummyCycles        = DUMMY_CLOCK_CYCLES_SRAM_READ;

	if (HAL_OSPI_Command(&hospi1, &sCommand, HAL_OSPI_TIMEOUT_DEFAULT_VALUE) != HAL_OK) {
		Error_Handler();
	}

	if (HAL_OSPI_Receive(&hospi1, reg, HAL_OSPI_TIMEOUT_DEFAULT_VALUE) != HAL_OK) {
		Error_Handler();
	}

	sCommand.Instruction = WRITE_REG_CMD_SRAM;
	sCommand.DummyCycles = 0;
	MODIFY_REG(reg[0], 0x03, 0x00);

	if (HAL_OSPI_Command(&hospi1, &sCommand, HAL_OSPI_TIMEOUT_DEFAULT_VALUE) != HAL_OK) {
		Error_Handler();
	}

	if (HAL_OSPI_Transmit(&hospi1, reg, HAL_OSPI_TIMEOUT_DEFAULT_VALUE) != HAL_OK) {
		Error_Handler();
	}

	/****************************************************************************/
	/*                                                                          */
	/* Enable memory-mapped mode                                                */
	/*                                                                          */
	/****************************************************************************/
	sCommand.Instruction        = WRITE_CMD_SRAM;
	sCommand.OperationType      = HAL_OSPI_OPTYPE_WRITE_CFG;
	sCommand.NbData             = 10;
	sCommand.DummyCycles        = DUMMY_CLOCK_CYCLES_SRAM_WRITE;

	if (HAL_OSPI_Command(&hospi1, &sCommand, HAL_OSPI_TIMEOUT_DEFAULT_VALUE) != HAL_OK) {
		Error_Handler();
	}

	sCommand.OperationType = HAL_OSPI_OPTYPE_READ_CFG;
	sCommand.Instruction   = READ_CMD_SRAM;
	sCommand.DummyCycles   = DUMMY_CLOCK_CYCLES_SRAM_READ;

	if (HAL_OSPI_Command(&hospi1, &sCommand, HAL_OSPI_TIMEOUT_DEFAULT_VALUE) != HAL_OK) {
		Error_Handler();
	}

	sMemMappedCfg.TimeOutActivation = HAL_OSPI_TIMEOUT_COUNTER_DISABLE;
	if (HAL_OSPI_MemoryMapped(&hospi1, &sMemMappedCfg) != HAL_OK) {
		Error_Handler();
	}

}

/**
 * @brief  RCC delay configuration register setting
 * May vary from board to be board. To be implemented by user application
 */
static void BSP_OSPIM_RCC_delay(void){

	__IO uint8_t *mem_addr=NULL;
	uint32_t delay=1, calibration_ongoing=1, test_failed=1;
	while (calibration_ongoing)
	{
		HAL_RCCEx_OCTOSPIDelayConfig(delay, 0);
		test_failed = 0;
		mem_addr = (__IO uint8_t *)(OCTOSPI1_BASE);
		for (uint16_t index = 0; index < BUFFERSIZE; index++)
		{
			*mem_addr = aTxBuffer[index];
			mem_addr++;
		}
		mem_addr = (__IO uint8_t *)(OCTOSPI1_BASE);
		for (uint16_t index = 0; index < BUFFERSIZE; index++)
		{
			if (*mem_addr != aTxBuffer[index])
			{
				test_failed = 1;
				break;
			}
			mem_addr++;
		}

		if (test_failed == 1)
		{
			if (delay < 15)
			{
				/* Increase delay and relaunch iteration */
				delay++;
			}
			else
			{
				/* If delay set to maximum and error still detected: can't use external PSRAM */
				Error_Handler();
			}
		}
		else
		{
			/* Proper delay found, exit calibration */
			calibration_ongoing = 0;
		}
	} /* while (calibration_ongoing) */
}

/**
 * @brief  DMA conversion complete callback
 * @note   This function is executed when the transfer complete interrupt
 *         is generated
 * @retval None
 */
static void TransferComplete(DMA_HandleTypeDef *DmaHandle)
{
	transferCompleteDetected = 1;
}

/**
 * @brief  DMA conversion error callback
 * @note   This function is executed when the transfer error interrupt
 *         is generated during DMA transfer
 * @retval None
 */
static void TransferError(DMA_HandleTypeDef *DmaHandle)
{
	transferErrorDetected = 1;
}

/**
 * @brief  On Error Handler on condition TRUE.
 * @param  condition : Can be TRUE or FALSE
 * @retval None
 */
static void OnError_Handler(uint32_t condition)
{
	if(condition)
	{
		BSP_LED_On(LED1);
		while(1) { ; } /* Blocking on error */
	}
}

/* USER CODE END 4 */

void Error_Handler(void)
{
	__disable_irq();
	while (1)
	{
	}
}
